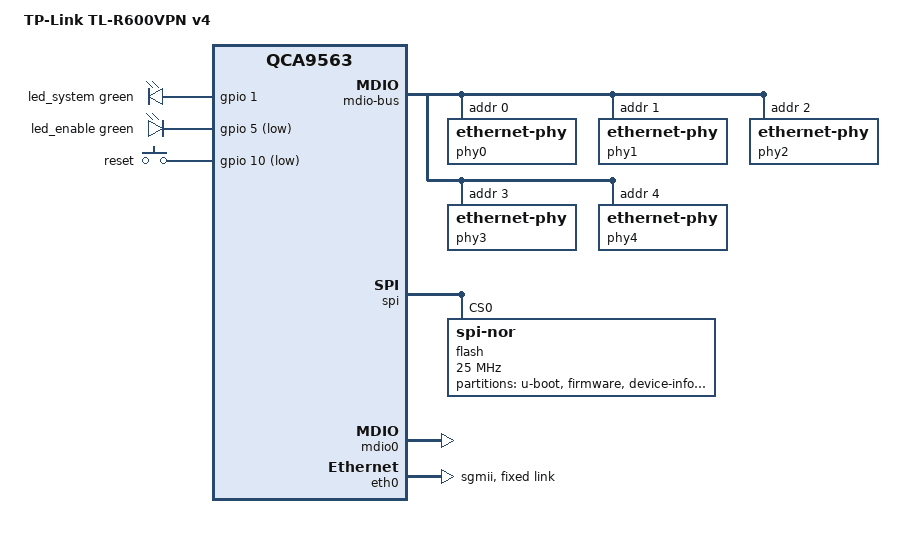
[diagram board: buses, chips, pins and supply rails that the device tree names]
// SPDX-License-Identifier: GPL-2.0-or-later OR MIT

#include "qca956x.dtsi"

#include <dt-bindings/gpio/gpio.h>
#include <dt-bindings/input/input.h>
#include <dt-bindings/leds/common.h>

/ {
	compatible = "tplink,tl-r600vpn-v4", "qca,qca9563";
	model = "TP-Link TL-R600VPN v4";

	aliases {
		led-boot = &led_system;
		led-failsafe = &led_system;
		led-running = &led_system;
		led-upgrade = &led_system;

		label-mac-device = &eth0;
	};

	leds {
		compatible = "gpio-leds";

		led_system: system {
			function = LED_FUNCTION_STATUS;
			color = <LED_COLOR_ID_GREEN>;
			gpios = <&gpio 1 GPIO_ACTIVE_HIGH>;
			default-state = "on";
		};

		led_enable: enable {
			function = LED_FUNCTION_INDICATOR;
			color = <LED_COLOR_ID_GREEN>;
			gpios = <&gpio 5 GPIO_ACTIVE_LOW>;
			default-state = "on";
		};
	};

	keys {
		compatible = "gpio-keys";

		reset {
			label = "reset";
			linux,code = <KEY_RESTART>;
			gpios = <&gpio 10 GPIO_ACTIVE_LOW>;
			debounce-interval = <60>;
		};
	};

	/* RTL8367S switch, connected to GMAC0 via SGMII on CPU port 6 (extif1) */
	rtl8367s {
		compatible = "realtek,rtl8367b";
		realtek,extif = <6 1 0 9 1 1 1 1 1 2>;

		mii-bus = <&mdio0>;
		phy-id = <29>;

		mdio-bus {
			#address-cells = <1>;
			#size-cells = <0>;
			status = "okay";

			phy0: ethernet-phy@0 {
				reg = <0>;
			};

			phy1: ethernet-phy@1 {
				reg = <1>;
			};

			phy2: ethernet-phy@2 {
				reg = <2>;
			};

			phy3: ethernet-phy@3 {
				reg = <3>;
			};

			phy4: ethernet-phy@4 {
				reg = <4>;
			};
		};
	};
};

&pinmux {
	mdio_pins: mdio_pins {
		/* GPIO 3 as MDC (0x21), GPIO 4 as MDIO (0x20) */
		pinctrl-single,bits = <0x0 0x21000000 0xff000000>,
					      <0x4 0x00000020 0x000000ff>;
	};
};

&spi {
	status = "okay";

	flash@0 {
		compatible = "jedec,spi-nor";
		reg = <0>;
		spi-max-frequency = <25000000>;

		partitions {
			compatible = "fixed-partitions";
			#address-cells = <1>;
			#size-cells = <1>;

			partition@0 {
				label = "u-boot";
				reg = <0x000000 0x040000>;
				read-only;
			};

			/*
			 * Stock layout: the kernel starts at 0x40000 and U-Boot boots
			 * it from its compiled-in default "bootm 0x9f040000". There is
			 * no u-boot-env partition: the U-Boot environment sector
			 * (0x40000-0x4ffff) is occupied by this kernel. Do not run
			 * saveenv or setenv from the U-Boot console, it would overwrite
			 * the kernel.
			 */
			firmware: partition@40000 {
				compatible = "denx,uimage";
				label = "firmware";
				reg = <0x040000 0x0cf0000>;
			};

			/* stock regions, kept read-only and not used by OpenWrt */
			partition@d30000 {
				label = "device-info";
				reg = <0x0d30000 0x10000>;
				read-only;
			};

			partition@d40000 {
				label = "support-list";
				reg = <0x0d40000 0x10000>;
				read-only;
			};

			partition@d50000 {
				label = "firmware-info";
				reg = <0x0d50000 0x10000>;
				read-only;
			};

			/* stock config: LAN MAC as UCI text (option macaddr) */
			partition@d60000 {
				label = "tddp";
				reg = <0x0d60000 0x10000>;
				read-only;
			};
		};
	};
};

&mdio0 {
	status = "okay";

	pinctrl-names = "default";
	pinctrl-0 = <&mdio_pins>;
};

&eth0 {
	status = "okay";

	/* ETH_SGMII control: stock writes 0x03000101 here at every link-up
	   (pll-reg = <0 0x48 0> -> PLL+0x48 = ETH_SGMII). */
	pll-data = <0x03000101 0x00000101 0x00001919>;
	phy-mode = "sgmii";

	qca956x-serdes-fixup;
	qca956x-sgmii-forced;

	gmac-config {
		device = <&gmac>;
	};

	fixed-link {
		speed = <1000>;
		full-duplex;
	};
};
